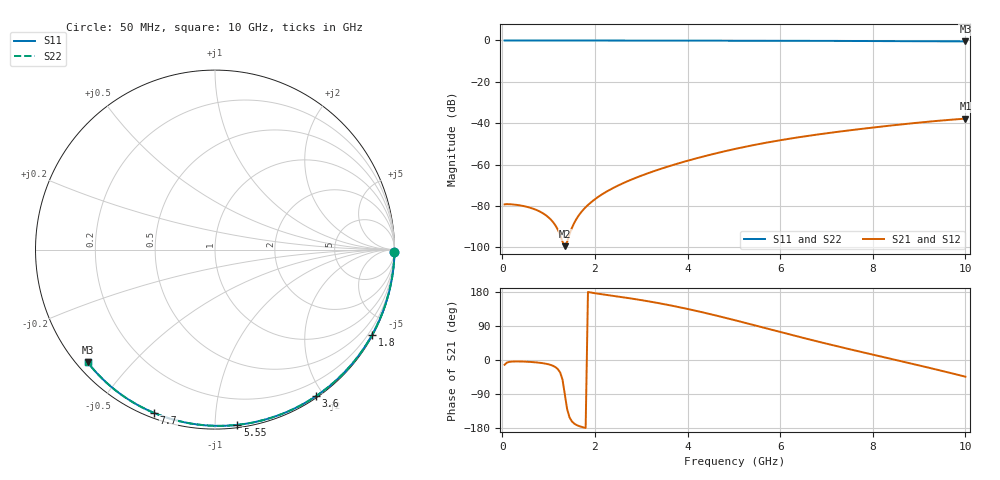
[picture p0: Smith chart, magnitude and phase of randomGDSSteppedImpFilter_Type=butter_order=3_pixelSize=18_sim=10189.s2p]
! freq	dB(S11)	phase(S11)	dB(S12)	phase(S12)
!  dB(S21)	phase(S21)	dB(S22)	phase(S22)
!S-par simulation data
#  GHz  S  DB  R 50
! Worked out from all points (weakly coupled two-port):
!   200 points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, 50 MHz to 10 GHz, reference 50 ohm
!   highest |S21| = -37.82 dB at 10 GHz (marker M1); lowest = -99.5 dB at 1.35 GHz (marker M2)
!   lowest |S11| = -0.5 dB at 10 GHz (marker M3), VSWR 37.11, Z = 1.54 - j19 ohm
!   |S11| at or under -10 dB: nowhere
!   |S22| runs from -0.5 to 0.0 dB; largest |S21 - S12| = 0
!   S11 on the Smith chart (normalised r, x): 50 MHz: open; 1.8 GHz: 0.03, -3.95; 3.6 GHz: 0.02, -1.90; 5.55 GHz: 0.02, -1.14; 7.7 GHz: 0.02, -0.69; 10 GHz: 0.03, -0.38
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0.05  -0.00 -0.8  -79.29 -12.6  -79.29 -12.6  -0.00 -0.8
0.2  -0.00 -3.2  -79.27 -4.2  -79.27 -4.2  -0.00 -3.2
0.45  -0.01 -7.2  -80.05 -4.1  -80.05 -4.1  -0.01 -7.2
1.35  -0.03 -21.4  -99.50 -90.0  -99.50 -90.0  -0.03 -21.4
1.75  -0.04 -27.6  -81.85 -177.8  -81.85 -177.8  -0.04 -27.6
1.8  -0.04 -28.4  -80.66 -179.3  -80.66 -179.3  -0.04 -28.4
1.85  -0.04 -29.2  -79.58 179.4  -79.58 179.4  -0.04 -29.2
2  -0.04 -31.5  -76.80 176.2  -76.80 176.2  -0.04 -31.5
2.15  -0.04 -33.8  -74.49 173.5  -74.49 173.5  -0.04 -33.8
2.45  -0.05 -38.4  -70.72 168.3  -70.72 168.3  -0.05 -38.4
2.85  -0.06 -44.4  -66.73 161.0  -66.73 161.0  -0.06 -44.4
3.4  -0.07 -52.6  -62.26 149.5  -62.26 149.5  -0.07 -52.6
3.6  -0.07 -55.5  -60.83 144.8  -60.83 144.8  -0.07 -55.5
4.3  -0.09 -65.5  -56.36 126.5  -56.36 126.5  -0.09 -65.5
5.05  -0.12 -76.0  -52.35 104.2  -52.35 104.2  -0.12 -76.0
5.55  -0.14 -82.8  -50.07 88.4  -50.07 88.4  -0.14 -82.8
6.1  -0.16 -90.1  -47.89 70.9  -47.89 70.9  -0.16 -90.1
6.7  -0.19 -97.8  -45.83 52.2  -45.83 52.2  -0.19 -97.8
7.7  -0.25 -110.5  -42.92 22.7  -42.92 22.7  -0.25 -110.5
8.35  -0.30 -118.5  -41.25 4.3  -41.25 4.3  -0.30 -118.5
9.2  -0.38 -128.8  -39.29 -20.1  -39.29 -20.1  -0.38 -128.8
10  -0.47 -138.4  -37.82 -44.0  -37.82 -44.0  -0.47 -138.4
